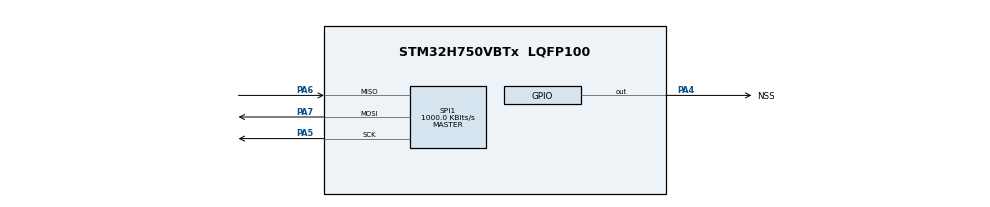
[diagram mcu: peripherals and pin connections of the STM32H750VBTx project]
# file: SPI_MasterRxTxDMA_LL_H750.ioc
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Dma.Request0=SPI1_RX
Dma.Request1=SPI1_TX
Dma.SPI1_RX.0.Direction=DMA_PERIPH_TO_MEMORY
Dma.SPI1_RX.0.EventEnable=DISABLE
Dma.SPI1_RX.0.FIFOMode=DMA_FIFOMODE_DISABLE
Dma.SPI1_RX.0.Instance=DMA1_Stream0
Dma.SPI1_RX.0.MemDataAlignment=DMA_MDATAALIGN_BYTE
Dma.SPI1_RX.0.MemInc=DMA_MINC_ENABLE
Dma.SPI1_RX.0.Mode=DMA_NORMAL
Dma.SPI1_RX.0.PeriphDataAlignment=DMA_PDATAALIGN_BYTE
Dma.SPI1_RX.0.PeriphInc=DMA_PINC_DISABLE
Dma.SPI1_RX.0.Polarity=HAL_DMAMUX_REQ_GEN_RISING
Dma.SPI1_RX.0.Priority=DMA_PRIORITY_LOW
Dma.SPI1_RX.0.RequestNumber=1
Dma.SPI1_RX.0.SignalID=NONE
Dma.SPI1_RX.0.SyncEnable=DISABLE
Dma.SPI1_RX.0.SyncPolarity=HAL_DMAMUX_SYNC_NO_EVENT
Dma.SPI1_RX.0.SyncRequestNumber=1
Dma.SPI1_RX.0.SyncSignalID=NONE
Dma.SPI1_TX.1.Direction=DMA_MEMORY_TO_PERIPH
Dma.SPI1_TX.1.EventEnable=DISABLE
Dma.SPI1_TX.1.FIFOMode=DMA_FIFOMODE_DISABLE
Dma.SPI1_TX.1.Instance=DMA1_Stream1
Dma.SPI1_TX.1.MemDataAlignment=DMA_MDATAALIGN_BYTE
Dma.SPI1_TX.1.MemInc=DMA_MINC_ENABLE
Dma.SPI1_TX.1.Mode=DMA_NORMAL
Dma.SPI1_TX.1.PeriphDataAlignment=DMA_PDATAALIGN_BYTE
Dma.SPI1_TX.1.PeriphInc=DMA_PINC_DISABLE
Dma.SPI1_TX.1.Polarity=HAL_DMAMUX_REQ_GEN_RISING
Dma.SPI1_TX.1.Priority=DMA_PRIORITY_LOW
Dma.SPI1_TX.1.RequestNumber=1
Dma.SPI1_TX.1.SignalID=NONE
Dma.SPI1_TX.1.SyncEnable=DISABLE
Dma.SPI1_TX.1.SyncPolarity=HAL_DMAMUX_SYNC_NO_EVENT
Dma.SPI1_TX.1.SyncRequestNumber=1
Dma.SPI1_TX.1.SyncSignalID=NONE
Mcu.Family=STM32H7
Mcu.Name=STM32H750VBTx
Mcu.Package=LQFP100
NVIC.DMA1_Stream0_IRQn=true\:0\:0\:false\:false\:true\:false\:true\:true
NVIC.DMA1_Stream1_IRQn=true\:0\:0\:false\:false\:true\:false\:true\:true
NVIC.PriorityGroup=NVIC_PRIORITYGROUP_4
NVIC.SPI1_IRQn=true\:0\:0\:false\:false\:true\:false\:true\:true
PA13\ (JTMS/SWDIO).Mode=Serial_Wire
PA13\ (JTMS/SWDIO).Signal=DEBUG_JTMS-SWDIO
PA14\ (JTCK/SWCLK).Mode=Serial_Wire
PA14\ (JTCK/SWCLK).Signal=DEBUG_JTCK-SWCLK
PA4.GPIO_Label=NSS
PA4.Signal=GPIO_Output
PA5.Mode=Full_Duplex_Master
PA5.Signal=SPI1_SCK
PA6.Mode=Full_Duplex_Master
PA6.Signal=SPI1_MISO
PA7.Mode=Full_Duplex_Master
PA7.Signal=SPI1_MOSI
PH0-OSC_IN\ (PH0).Mode=HSE-External-Oscillator
PH0-OSC_IN\ (PH0).Signal=RCC_OSC_IN
PH1-OSC_OUT\ (PH1).Mode=HSE-External-Oscillator
PH1-OSC_OUT\ (PH1).Signal=RCC_OSC_OUT
ProjectManager.HeapSize=0x200
ProjectManager.StackSize=0x400
ProjectManager.TargetToolchain=STM32CubeIDE
RCC.ADCFreq_Value=128000000
RCC.APB1Freq_Value=120000000
RCC.APB2Freq_Value=120000000
RCC.APB3Freq_Value=120000000
RCC.APB4Freq_Value=120000000
RCC.CortexFreq_Value=240000000
RCC.DIVM1=25
RCC.DIVM2=25
RCC.DIVN1=480
RCC.DIVN2=256
RCC.HCLKFreq_Value=120000000
RCC.HPRE=RCC_HCLK_DIV2
RCC.PLLSourceVirtual=RCC_PLLSOURCE_HSE
RCC.SPI123CLockSelection=RCC_SPI123CLKSOURCE_PLL2
RCC.SYSCLKFreq_VALUE=240000000
RCC.SYSCLKSource=RCC_SYSCLKSOURCE_PLLCLK
RCC.USBFreq_Value=240000000
SPI1.BaudRatePrescaler=SPI_BAUDRATEPRESCALER_128
SPI1.CLKPolarity=SPI_POLARITY_HIGH
SPI1.CalculateBaudRate=1000.0 KBits/s
SPI1.DataSize=SPI_DATASIZE_8BIT
SPI1.Direction=SPI_DIRECTION_2LINES
SPI1.Mode=SPI_MODE_MASTER
SPI1.VirtualType=VM_MASTER
board=custom

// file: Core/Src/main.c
/* USER CODE BEGIN Header */
/**
  ******************************************************************************
  * @file           : main.c
  * @brief          : Main program body
  ******************************************************************************
  * @attention
  *
  * Copyright (c) 2023 STMicroelectronics.
  * All rights reserved.
  *
  * This software is licensed under terms that can be found in the LICENSE file
  * in the root directory of this software component.
  * If no LICENSE file comes with this software, it is provided AS-IS.
  *
  ******************************************************************************
  */
/* USER CODE END Header */
#include "main.h"

/* USER CODE BEGIN PV */

  uint8_t onRx = 0;
  uint8_t onTx = 0;

/* USER CODE END PV */

void SystemClock_Config(void);
void PeriphCommonClock_Config(void);
static void MX_GPIO_Init(void);
static void MX_DMA_Init(void);
static void MX_SPI1_Init(void);

int main(void)
{

  /* MCU Configuration--------------------------------------------------------*/

  /* Reset of all peripherals, Initializes the Flash interface and the Systick. */
  LL_APB4_GRP1_EnableClock(LL_APB4_GRP1_PERIPH_SYSCFG);

  /* System interrupt init*/
  NVIC_SetPriorityGrouping(NVIC_PRIORITYGROUP_4);

  /* SysTick_IRQn interrupt configuration */
  NVIC_SetPriority(SysTick_IRQn, NVIC_EncodePriority(NVIC_GetPriorityGrouping(),15, 0));

  /* Configure the system clock */
  SystemClock_Config();

/* Configure the peripherals common clocks */
  PeriphCommonClock_Config();

  /* Initialize all configured peripherals */
  MX_GPIO_Init();
  MX_DMA_Init();
  MX_SPI1_Init();

  /* Infinite loop */
  /* USER CODE BEGIN WHILE */

  uint8_t rxbuff[256];

  LL_DMA_SetPeriphAddress(DMA1, LL_DMA_STREAM_0, LL_SPI_DMA_GetRxRegAddr(SPI1)); // 设置外设地址
  LL_DMA_SetMemoryAddress(DMA1, LL_DMA_STREAM_0, (uint32_t)rxbuff); // 设备内存地址
  LL_DMA_SetDataLength(DMA1, LL_DMA_STREAM_0, 256); // 设置传输长度

  LL_DMA_EnableIT_TC(DMA1, LL_DMA_STREAM_0); // 开启传输完成中断
  LL_DMA_EnableIT_TE(DMA1, LL_DMA_STREAM_0); // 开启传输错误中断
//  LL_DMA_EnableStream(DMA1, LL_DMA_STREAM_0);

  uint8_t txbuff[256];
  for(int i=0; i<256; i++)
  {
	  txbuff[i] = i;
  }

  LL_DMA_SetPeriphAddress(DMA1, LL_DMA_STREAM_1, LL_SPI_DMA_GetTxRegAddr(SPI1)); // 设置外设地址
  LL_DMA_SetMemoryAddress(DMA1, LL_DMA_STREAM_1, (uint32_t)txbuff); // 设备内存地址
  LL_DMA_SetDataLength(DMA1, LL_DMA_STREAM_1, 256); // 设置传输长度

  LL_DMA_EnableIT_TC(DMA1, LL_DMA_STREAM_1); // 开启传输完成中断
  LL_DMA_EnableIT_TE(DMA1, LL_DMA_STREAM_1); // 开启传输错误中断
//  LL_DMA_EnableStream(DMA1, LL_DMA_STREAM_1);

  LL_SPI_EnableDMAReq_RX(SPI1); // 使能SPI DMA RX请求
  LL_SPI_EnableDMAReq_TX(SPI1); // 使能SPI DMA TX请求

  LL_SPI_Enable(SPI1); // 使能SPI
  LL_SPI_StartMasterTransfer(SPI1); // 启动SPI主机传输

  while (1)
  {

	  while(onRx | onTx); // 等待可以开启接收发送

	  LL_GPIO_ResetOutputPin(GPIOA, LL_GPIO_PIN_4); // 拉低片选信号

	  onRx = 1;
	  LL_DMA_EnableStream(DMA1, LL_DMA_STREAM_0); // 启动SPI DMA接收
	  onTx = 1;
	  LL_DMA_EnableStream(DMA1, LL_DMA_STREAM_1); // 启动SPI DMA发送

	  while(onRx | onTx); // 等待接收发送完成

	  LL_GPIO_SetOutputPin(GPIOA, LL_GPIO_PIN_4); // 拉高片选信号

	  LL_mDelay(1);

    /* USER CODE END WHILE */

  }
}

void SystemClock_Config(void)
{
  LL_FLASH_SetLatency(LL_FLASH_LATENCY_2);
  while(LL_FLASH_GetLatency()!= LL_FLASH_LATENCY_2)
  {
  }
  LL_PWR_ConfigSupply(LL_PWR_LDO_SUPPLY);
  LL_PWR_SetRegulVoltageScaling(LL_PWR_REGU_VOLTAGE_SCALE2);
  while (LL_PWR_IsActiveFlag_VOS() == 0)
  {
  }
  LL_RCC_HSE_Enable();

   /* Wait till HSE is ready */
  while(LL_RCC_HSE_IsReady() != 1)
  {

  }
  LL_RCC_PLL_SetSource(LL_RCC_PLLSOURCE_HSE);
  LL_RCC_PLL1P_Enable();
  LL_RCC_PLL1R_Enable();
  LL_RCC_PLL1_SetVCOInputRange(LL_RCC_PLLINPUTRANGE_1_2);
  LL_RCC_PLL1_SetVCOOutputRange(LL_RCC_PLLVCORANGE_WIDE);
  LL_RCC_PLL1_SetM(25);
  LL_RCC_PLL1_SetN(480);
  LL_RCC_PLL1_SetP(2);
  LL_RCC_PLL1_SetQ(2);
  LL_RCC_PLL1_SetR(2);
  LL_RCC_PLL1_Enable();

   /* Wait till PLL is ready */
  while(LL_RCC_PLL1_IsReady() != 1)
  {
  }

   /* Intermediate AHB prescaler 2 when target frequency clock is higher than 80 MHz */
   LL_RCC_SetAHBPrescaler(LL_RCC_AHB_DIV_2);

  LL_RCC_SetSysClkSource(LL_RCC_SYS_CLKSOURCE_PLL1);

   /* Wait till System clock is ready */
  while(LL_RCC_GetSysClkSource() != LL_RCC_SYS_CLKSOURCE_STATUS_PLL1)
  {

  }
  LL_RCC_SetSysPrescaler(LL_RCC_SYSCLK_DIV_1);
  LL_RCC_SetAHBPrescaler(LL_RCC_AHB_DIV_2);
  LL_RCC_SetAPB1Prescaler(LL_RCC_APB1_DIV_1);
  LL_RCC_SetAPB2Prescaler(LL_RCC_APB2_DIV_1);
  LL_RCC_SetAPB3Prescaler(LL_RCC_APB3_DIV_1);
  LL_RCC_SetAPB4Prescaler(LL_RCC_APB4_DIV_1);

  LL_Init1msTick(240000000);

  LL_SetSystemCoreClock(240000000);
}

void PeriphCommonClock_Config(void)
{
  LL_RCC_PLL2P_Enable();
  LL_RCC_PLL2_SetVCOInputRange(LL_RCC_PLLINPUTRANGE_1_2);
  LL_RCC_PLL2_SetVCOOutputRange(LL_RCC_PLLVCORANGE_WIDE);
  LL_RCC_PLL2_SetM(25);
  LL_RCC_PLL2_SetN(256);
  LL_RCC_PLL2_SetP(2);
  LL_RCC_PLL2_SetQ(2);
  LL_RCC_PLL2_SetR(2);
  LL_RCC_PLL2_Enable();

   /* Wait till PLL is ready */
  while(LL_RCC_PLL2_IsReady() != 1)
  {
  }

}

static void MX_SPI1_Init(void)
{

  LL_SPI_InitTypeDef SPI_InitStruct = {0};

  LL_GPIO_InitTypeDef GPIO_InitStruct = {0};

  LL_RCC_SetSPIClockSource(LL_RCC_SPI123_CLKSOURCE_PLL2P);

  /* Peripheral clock enable */
  LL_APB2_GRP1_EnableClock(LL_APB2_GRP1_PERIPH_SPI1);

  LL_AHB4_GRP1_EnableClock(LL_AHB4_GRP1_PERIPH_GPIOA);
  /**SPI1 GPIO Configuration
  PA5   ------> SPI1_SCK
  PA6   ------> SPI1_MISO
  PA7   ------> SPI1_MOSI
  */
  GPIO_InitStruct.Pin = LL_GPIO_PIN_5|LL_GPIO_PIN_6|LL_GPIO_PIN_7;
  GPIO_InitStruct.Mode = LL_GPIO_MODE_ALTERNATE;
  GPIO_InitStruct.Speed = LL_GPIO_SPEED_FREQ_LOW;
  GPIO_InitStruct.OutputType = LL_GPIO_OUTPUT_PUSHPULL;
  GPIO_InitStruct.Pull = LL_GPIO_PULL_NO;
  GPIO_InitStruct.Alternate = LL_GPIO_AF_5;
  LL_GPIO_Init(GPIOA, &GPIO_InitStruct);

  /* SPI1 DMA Init */

  /* SPI1_RX Init */
  LL_DMA_SetPeriphRequest(DMA1, LL_DMA_STREAM_0, LL_DMAMUX1_REQ_SPI1_RX);

  LL_DMA_SetDataTransferDirection(DMA1, LL_DMA_STREAM_0, LL_DMA_DIRECTION_PERIPH_TO_MEMORY);

  LL_DMA_SetStreamPriorityLevel(DMA1, LL_DMA_STREAM_0, LL_DMA_PRIORITY_LOW);

  LL_DMA_SetMode(DMA1, LL_DMA_STREAM_0, LL_DMA_MODE_NORMAL);

  LL_DMA_SetPeriphIncMode(DMA1, LL_DMA_STREAM_0, LL_DMA_PERIPH_NOINCREMENT);

  LL_DMA_SetMemoryIncMode(DMA1, LL_DMA_STREAM_0, LL_DMA_MEMORY_INCREMENT);

  LL_DMA_SetPeriphSize(DMA1, LL_DMA_STREAM_0, LL_DMA_PDATAALIGN_BYTE);

  LL_DMA_SetMemorySize(DMA1, LL_DMA_STREAM_0, LL_DMA_MDATAALIGN_BYTE);

  LL_DMA_DisableFifoMode(DMA1, LL_DMA_STREAM_0);

  /* SPI1_TX Init */
  LL_DMA_SetPeriphRequest(DMA1, LL_DMA_STREAM_1, LL_DMAMUX1_REQ_SPI1_TX);

  LL_DMA_SetDataTransferDirection(DMA1, LL_DMA_STREAM_1, LL_DMA_DIRECTION_MEMORY_TO_PERIPH);

  LL_DMA_SetStreamPriorityLevel(DMA1, LL_DMA_STREAM_1, LL_DMA_PRIORITY_LOW);

  LL_DMA_SetMode(DMA1, LL_DMA_STREAM_1, LL_DMA_MODE_NORMAL);

  LL_DMA_SetPeriphIncMode(DMA1, LL_DMA_STREAM_1, LL_DMA_PERIPH_NOINCREMENT);

  LL_DMA_SetMemoryIncMode(DMA1, LL_DMA_STREAM_1, LL_DMA_MEMORY_INCREMENT);

  LL_DMA_SetPeriphSize(DMA1, LL_DMA_STREAM_1, LL_DMA_PDATAALIGN_BYTE);

  LL_DMA_SetMemorySize(DMA1, LL_DMA_STREAM_1, LL_DMA_MDATAALIGN_BYTE);

  LL_DMA_DisableFifoMode(DMA1, LL_DMA_STREAM_1);

  /* SPI1 interrupt Init */
  NVIC_SetPriority(SPI1_IRQn, NVIC_EncodePriority(NVIC_GetPriorityGrouping(),0, 0));
  NVIC_EnableIRQ(SPI1_IRQn);

  /* SPI1 parameter configuration*/
  SPI_InitStruct.TransferDirection = LL_SPI_FULL_DUPLEX;
  SPI_InitStruct.Mode = LL_SPI_MODE_MASTER;
  SPI_InitStruct.DataWidth = LL_SPI_DATAWIDTH_8BIT;
  SPI_InitStruct.ClockPolarity = LL_SPI_POLARITY_HIGH;
  SPI_InitStruct.ClockPhase = LL_SPI_PHASE_1EDGE;
  SPI_InitStruct.NSS = LL_SPI_NSS_SOFT;
  SPI_InitStruct.BaudRate = LL_SPI_BAUDRATEPRESCALER_DIV128;
  SPI_InitStruct.BitOrder = LL_SPI_MSB_FIRST;
  SPI_InitStruct.CRCCalculation = LL_SPI_CRCCALCULATION_DISABLE;
  SPI_InitStruct.CRCPoly = 0x0;
  LL_SPI_Init(SPI1, &SPI_InitStruct);
  LL_SPI_SetStandard(SPI1, LL_SPI_PROTOCOL_MOTOROLA);
  LL_SPI_EnableNSSPulseMgt(SPI1);

}

static void MX_DMA_Init(void)
{

  /* Init with LL driver */
  /* DMA controller clock enable */
  LL_AHB1_GRP1_EnableClock(LL_AHB1_GRP1_PERIPH_DMA1);

  /* DMA interrupt init */
  /* DMA1_Stream0_IRQn interrupt configuration */
  NVIC_SetPriority(DMA1_Stream0_IRQn, NVIC_EncodePriority(NVIC_GetPriorityGrouping(),0, 0));
  NVIC_EnableIRQ(DMA1_Stream0_IRQn);
  /* DMA1_Stream1_IRQn interrupt configuration */
  NVIC_SetPriority(DMA1_Stream1_IRQn, NVIC_EncodePriority(NVIC_GetPriorityGrouping(),0, 0));
  NVIC_EnableIRQ(DMA1_Stream1_IRQn);

}

static void MX_GPIO_Init(void)
{
  LL_GPIO_InitTypeDef GPIO_InitStruct = {0};

  /* GPIO Ports Clock Enable */
  LL_AHB4_GRP1_EnableClock(LL_AHB4_GRP1_PERIPH_GPIOH);
  LL_AHB4_GRP1_EnableClock(LL_AHB4_GRP1_PERIPH_GPIOA);

  /**/
  LL_GPIO_ResetOutputPin(NSS_GPIO_Port, NSS_Pin);

  /**/
  GPIO_InitStruct.Pin = NSS_Pin;
  GPIO_InitStruct.Mode = LL_GPIO_MODE_OUTPUT;
  GPIO_InitStruct.Speed = LL_GPIO_SPEED_FREQ_LOW;
  GPIO_InitStruct.OutputType = LL_GPIO_OUTPUT_PUSHPULL;
  GPIO_InitStruct.Pull = LL_GPIO_PULL_NO;
  LL_GPIO_Init(NSS_GPIO_Port, &GPIO_InitStruct);

}

void Error_Handler(void)
{
  __disable_irq();
  while (1)
  {
  }
}
